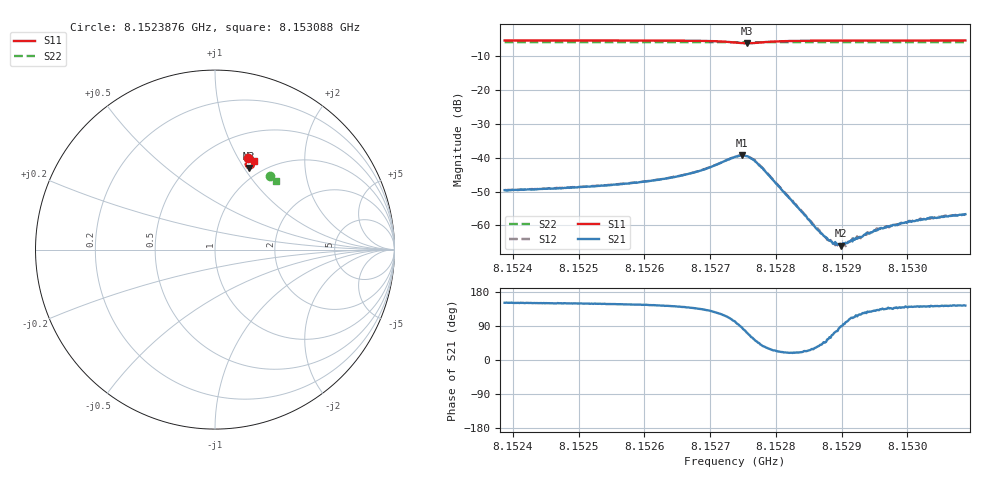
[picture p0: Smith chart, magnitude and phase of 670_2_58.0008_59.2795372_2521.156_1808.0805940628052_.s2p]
#  HZ  S  RI  R  50.00
! Rohde & Schwarz Vector Network Analyzer
! Rohde-Schwarz,ZNB20-2Port,1311601062101988,3.16
! Created: UTC 3/21/2024, 1:20:19 AM
! freq[Hz]  re:S11  im:S11  re:S21  im:S21  re:S12  im:S12  re:S22  im:S22
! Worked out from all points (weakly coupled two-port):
!   401 points, 8.1523876 GHz to 8.153088 GHz, reference 50 ohm
!   highest |S21| = -39.31 dB at 8.1527483 GHz (marker M1); lowest = -65.9 dB at 8.1528989 GHz (marker M2)
!   lowest |S11| = -6.2 dB at 8.1527553 GHz (marker M3), VSWR 2.93, Z = 43.8 + j52.4 ohm
!   |S11| at or under -10 dB: nowhere
!   |S22| runs from -5.9 to -5.8 dB; largest |S21 - S12| = 0.00029
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8.1523876e9  0.1836 0.5085  -0.0029 0.0016  -0.00287 0.00166  0.3061 0.4098
8.15250492e9  0.193 0.505  -0.00318 0.00189  -0.00316 0.00195  0.3121 0.4052
8.15256271e9  0.1982 0.5025  -0.00343 0.00218  -0.00341 0.00227  0.315 0.4026
8.15262224e9  0.2048 0.4987  -0.00383 0.00278  -0.0038 0.00285  0.318 0.4001
8.15268353e9  0.2138 0.4897  -0.00452 0.0045  -0.0045 0.00459  0.3211 0.3974
8.15273781e9  0.2103 0.4588  -0.00207 0.0101  -0.00188 0.0102  0.323 0.3943
8.15274832e9  0.1978 0.4527  0.00081 0.0108  0.00104 0.0108  0.323 0.3936
8.15275532e9  0.1872 0.4535  0.0031 0.0101  0.00308 0.0101  0.3228 0.3935
8.15276408e9  0.1766 0.4608  0.0049 0.00818  0.00511 0.0082  0.3232 0.3937
8.15277458e9  0.1711 0.4732  0.00547 0.0054  0.00575 0.00545  0.3236 0.3938
8.15285513e9  0.1944 0.4998  0.000912 0.000513  0.00095 0.00052  0.3285 0.3911
8.1528779e9  0.1987 0.4999  0.000377 0.000525  0.00038 0.000482  0.3297 0.3903
8.1528849e9  0.1996 0.4997  0.00024 0.000526  0.00025 0.000487  0.33 0.3899
8.1528919e9  0.2008 0.4996  0.000125 0.000505  0.00017 0.000515  0.3304 0.3894
8.15289891e9  0.2018 0.4996  7.9e-06 0.000504  6.34e-06 0.000511  0.3308 0.3893
8.15290766e9  0.203 0.4993  -0.000104 0.000536  -0.000107 0.000501  0.3312 0.389
8.15291992e9  0.2044 0.4991  -0.000247 0.00056  -0.000246 0.000558  0.3317 0.3884
8.15294619e9  0.2076 0.4985  -0.000494 0.000615  -0.000474 0.000604  0.3332 0.3873
8.15295669e9  0.2086 0.4982  -0.000586 0.000662  -0.000568 0.00069  0.3336 0.3869
8.15297245e9  0.2101 0.4977  -0.000689 0.000664  -0.000666 0.000665  0.3344 0.3862
8.15302148e9  0.2147 0.4964  -0.000947 0.000767  -0.000954 0.000788  0.3368 0.3839
8.15308802e9  0.22 0.4945  -0.00118 0.000867  -0.00115 0.00084  0.3398 0.3811
